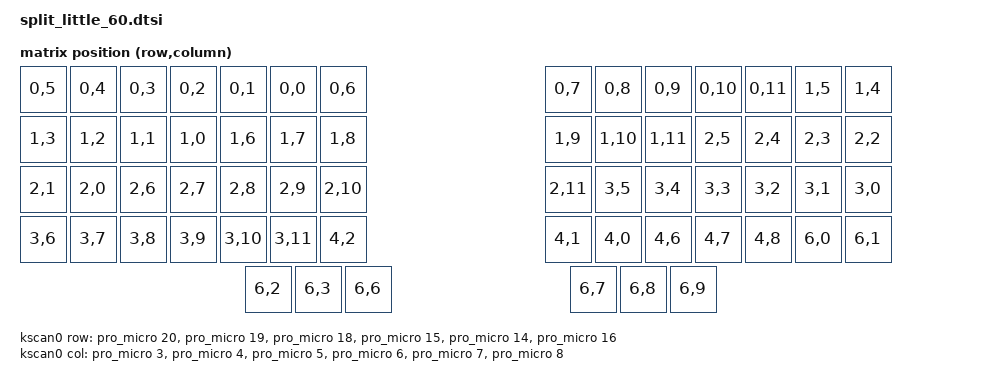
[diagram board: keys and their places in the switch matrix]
/*
 * Copyright (c) 2024 Lorenzo Pastrana
 *
 * SPDX-License-Identifier: MIT
 */

#include <dt-bindings/zmk/matrix_transform.h>

/ {
    chosen {
        zephyr,display = &oled;
        zmk,kscan = &kscan0;
        zmk,physical-layout = &oxomoxo_split_little_60_layout;
    };

    kscan0: kscan {
        compatible = "zmk,kscan-gpio-matrix";
        wakeup-source;
        diode-direction = "col2row";

        row-gpios
            = <&pro_micro 20 (GPIO_ACTIVE_HIGH | GPIO_PULL_DOWN)>
            , <&pro_micro 19 (GPIO_ACTIVE_HIGH | GPIO_PULL_DOWN)>
            , <&pro_micro 18 (GPIO_ACTIVE_HIGH | GPIO_PULL_DOWN)>
            , <&pro_micro 15 (GPIO_ACTIVE_HIGH | GPIO_PULL_DOWN)>
            , <&pro_micro 14 (GPIO_ACTIVE_HIGH | GPIO_PULL_DOWN)>
            , <&pro_micro 16 (GPIO_ACTIVE_HIGH | GPIO_PULL_DOWN)>
            ;

        col-gpios
            = <&pro_micro 3 GPIO_ACTIVE_HIGH>
            , <&pro_micro 4 GPIO_ACTIVE_HIGH>
            , <&pro_micro 5 GPIO_ACTIVE_HIGH>
            , <&pro_micro 6 GPIO_ACTIVE_HIGH>
            , <&pro_micro 7 GPIO_ACTIVE_HIGH>
            , <&pro_micro 8 GPIO_ACTIVE_HIGH>
            ;

    };

    default_transform: keymap_transform_0 {
        compatible = "zmk,matrix-transform";
        columns = <14>;
        rows = <5>;
//    | SW1  | SW2  | SW9  | SW13 | SW17 | SW21 | SW22 |    | SW22 | SW21 | SW17 | SW13 | SW9  | SW2  | SW1  |
//    | SW3  | SW4  | SW10 | SW14 | SW18 | SW23 | SW24 |    | SW24 | SW23 | SW18 | SW14 | SW10 | SW4  | SW3  |
//    | SW5  | SW6  | SW11 | SW15 | SW19 | SW25 | SW26 |    | SW26 | SW25 | SW19 | SW15 | SW11 | SW6  | SW5  |
//    | SW7  | SW8  | SW12 | SW16 | SW20 | SW27 | SW28 |    | SW28 | SW27 | SW20 | SW16 | SW12 | SW8  | SW7  |
//                                | SW29 | SW30 | SW31 |    | SW31 | SW30 | SW29 |
        map = <
RC(0,5) RC(0,4) RC(0,3) RC(0,2) RC(0,1) RC(0,0)      RC(0,6) RC(0,7) RC(0,8) RC(0,9) RC(0,10) RC(0,11)
RC(1,5) RC(1,4) RC(1,3) RC(1,2) RC(1,1) RC(1,0)      RC(1,6) RC(1,7) RC(1,8) RC(1,9) RC(1,10) RC(1,11)
RC(2,5) RC(2,4) RC(2,3) RC(2,2) RC(2,1) RC(2,0)      RC(2,6) RC(2,7) RC(2,8) RC(2,9) RC(2,10) RC(2,11)
RC(3,5) RC(3,4) RC(3,3) RC(3,2) RC(3,1) RC(3,0)      RC(3,6) RC(3,7) RC(3,8) RC(3,9) RC(3,10) RC(3,11)
                        RC(4,2) RC(4,1) RC(4,0)      RC(4,6) RC(4,7) RC(4,8)
				RC(6,0) RC(6,1) RC(6,2) RC(6,3)		 RC(6,6) RC(6,7) RC(6,8) RC(6,9)
        >;
    };

	oxomoxo_split_little_60_layout: oxomoxo_split_little_60_layout {
		transform = <&default_transform>;
		compatible = "zmk,physical-layout";
		display-name = "Default";

		keys  //                     w   h    x    y     rot    rx    ry
	// Row 1
	// Left
			= <&key_physical_attrs 100 100    0   50       0     0     0>
			, <&key_physical_attrs 100 100  100   50       0     0     0>
			, <&key_physical_attrs 100 100  200   50       0     0     0>
			, <&key_physical_attrs 100 100  300   50       0     0     0>
			, <&key_physical_attrs 100 100  400   50       0     0     0>
			, <&key_physical_attrs 100 100  500   50       0     0     0>
			, <&key_physical_attrs 100 100  600   50       0     0     0>
	// Right
			, <&key_physical_attrs 100 100 1050   50       0     0     0>
			, <&key_physical_attrs 100 100 1150   50       0     0     0>
			, <&key_physical_attrs 100 100 1250   50       0     0     0>
			, <&key_physical_attrs 100 100 1350   50       0     0     0>
			, <&key_physical_attrs 100 100 1450   50       0     0     0>
			, <&key_physical_attrs 100 100 1550   50       0     0     0>
			, <&key_physical_attrs 100 100 1650   50       0     0     0>
	// Row 2
	// Left
			, <&key_physical_attrs 100 100    0  150       0     0     0>
			, <&key_physical_attrs 100 100  100  150       0     0     0>
			, <&key_physical_attrs 100 100  200  150       0     0     0>
			, <&key_physical_attrs 100 100  300  150       0     0     0>
			, <&key_physical_attrs 100 100  400  150       0     0     0>
			, <&key_physical_attrs 100 100  500  150       0     0     0>
			, <&key_physical_attrs 100 100  600  150       0     0     0>
	// Right
			, <&key_physical_attrs 100 100 1050  150       0     0     0>
			, <&key_physical_attrs 100 100 1150  150       0     0     0>
			, <&key_physical_attrs 100 100 1250  150       0     0     0>
			, <&key_physical_attrs 100 100 1350  150       0     0     0>
			, <&key_physical_attrs 100 100 1450  150       0     0     0>
			, <&key_physical_attrs 100 100 1550  150       0     0     0>
			, <&key_physical_attrs 100 100 1650  150       0     0     0>
	// Row 3
	// Left
			, <&key_physical_attrs 100 100    0  250       0     0     0>
			, <&key_physical_attrs 100 100  100  250       0     0     0>
			, <&key_physical_attrs 100 100  200  250       0     0     0>
			, <&key_physical_attrs 100 100  300  250       0     0     0>
			, <&key_physical_attrs 100 100  400  250       0     0     0>
			, <&key_physical_attrs 100 100  500  250       0     0     0>
			, <&key_physical_attrs 100 100  600  250       0     0     0>
	// Right
			, <&key_physical_attrs 100 100 1050  250       0     0     0>
			, <&key_physical_attrs 100 100 1150  250       0     0     0>
			, <&key_physical_attrs 100 100 1250  250       0     0     0>
			, <&key_physical_attrs 100 100 1350  250       0     0     0>
			, <&key_physical_attrs 100 100 1450  250       0     0     0>
			, <&key_physical_attrs 100 100 1550  250       0     0     0>
			, <&key_physical_attrs 100 100 1650  250       0     0     0>
	// Row 4
	// Left
			, <&key_physical_attrs 100 100    0  350       0     0     0>
			, <&key_physical_attrs 100 100  100  350       0     0     0>
			, <&key_physical_attrs 100 100  200  350       0     0     0>
			, <&key_physical_attrs 100 100  300  350       0     0     0>
			, <&key_physical_attrs 100 100  400  350       0     0     0>
			, <&key_physical_attrs 100 100  500  350       0     0     0>
			, <&key_physical_attrs 100 100  600  350       0     0     0>
	// Right
			, <&key_physical_attrs 100 100 1050  350       0     0     0>
			, <&key_physical_attrs 100 100 1150  350       0     0     0>
			, <&key_physical_attrs 100 100 1250  350       0     0     0>
			, <&key_physical_attrs 100 100 1350  350       0     0     0>
			, <&key_physical_attrs 100 100 1450  350       0     0     0>
			, <&key_physical_attrs 100 100 1550  350       0     0     0>
			, <&key_physical_attrs 100 100 1650  350       0     0     0>
	// Thumb Row
	// Left
			, <&key_physical_attrs 100 100  450  450       0     0     0>
			, <&key_physical_attrs 100 100  550  450       0     0     0>
			, <&key_physical_attrs 100 100  650  450       0     0     0>
	// Right
			, <&key_physical_attrs 100 100 1100  450       0     0     0>
			, <&key_physical_attrs 100 100 1200  450       0     0     0>
			, <&key_physical_attrs 100 100 1300  450       0     0     0>
			;
	};
};

&pro_micro_i2c {
    status = "okay";

    oled: ssd1306@3c {
        compatible = "solomon,ssd1306fb";
        reg = <0x3c>;
        width = <128>;
        height = <32>;
        segment-offset = <0>;
        page-offset = <0>;
        display-offset = <0>;
        multiplex-ratio = <31>;
        segment-remap;
        com-invdir;
        com-sequential;
        inversion-on;
        prechargep = <0x22>;
    };
};
